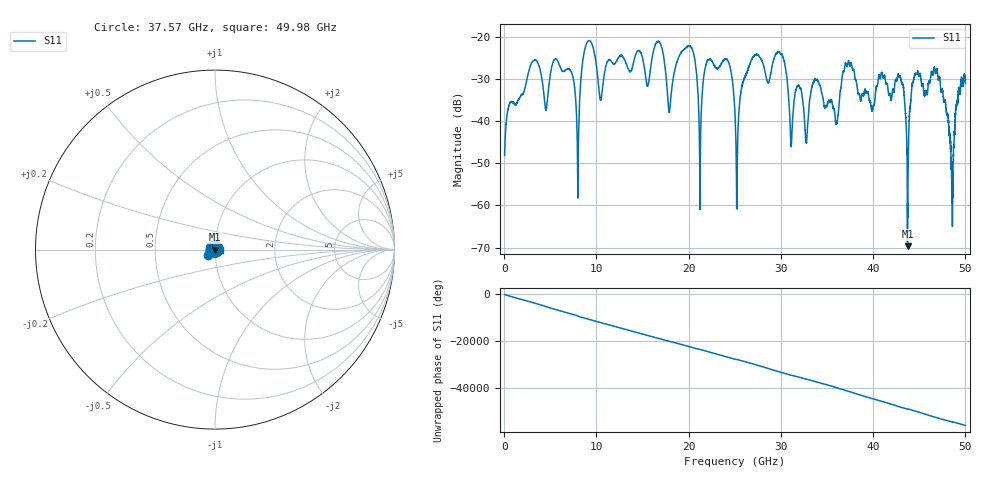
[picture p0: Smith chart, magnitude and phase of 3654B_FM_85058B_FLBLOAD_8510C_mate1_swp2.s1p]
!Created with skrf (http://scikit-rf.org).
# Hz S RI R 50.0
!freq ReS11 ImS11
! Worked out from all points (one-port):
!   10001 points, 45 MHz to 50 GHz, reference 50 ohm
!   lowest |S11| = -69.7 dB at 43.73 GHz (marker M1), VSWR 1.00, Z = 50 + j0.0255 ohm
!   |S11| at or under -10 dB: start of sweep to end of sweep
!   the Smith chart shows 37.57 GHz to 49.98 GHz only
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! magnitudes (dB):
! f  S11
! 45 MHz  -48.1
! 3.082 GHz  -25.8
! 6.289 GHz  -28.1
! 7.963 GHz  -51.9
! 9.017 GHz  -21.2
! 10.46 GHz  -35.0
! 12.53 GHz  -24.4
! 16.78 GHz  -21.1
! 17.91 GHz  -37.7
! 18.78 GHz  -25.6
! 20.4 GHz  -23.0
! 21.24 GHz  -55.0
! 22 GHz  -25.8
! 24.16 GHz  -25.3
! 25.02 GHz  -38.3
! 26.94 GHz  -24.8
! 29.67 GHz  -23.6
! 31.27 GHz  -39.6
! 33.8 GHz  -30.3
! 36.04 GHz  -40.6
! 37.51 GHz  -26.8
! 42.88 GHz  -29.3
! 43.73 GHz  -69.7
! 43.76 GHz  -60.4
! 44.45 GHz  -29.5
! 46.75 GHz  -28.6
! 48.59 GHz  -56.0
! 50 GHz  -31.1
